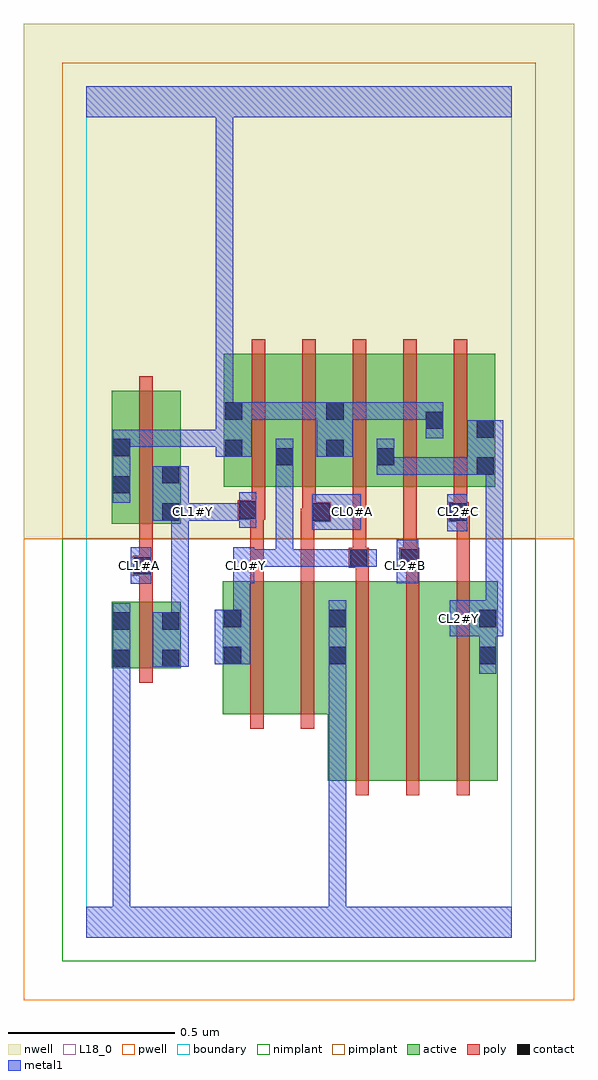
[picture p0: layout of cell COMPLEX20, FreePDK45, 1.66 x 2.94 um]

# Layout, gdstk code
import gdstk
lib = gdstk.Library(unit=1e-6, precision=1e-09)
def R(c, l, rs):  # rectangles x0, y0, x1, y1
    for r in rs: c.add(gdstk.rectangle(r[:2], r[2:], *l))
def A(c, l, x, y, w, h, nx, ny, dx, dy):  # array of equal rectangles
    R(c, l, [(x+i*dx, y+j*dy, x+i*dx+w, y+j*dy+h) for i in range(nx) for j in range(ny)])
active = (1, 0)
pwell = (2, 0)
nwell = (3, 0)
nimplant = (4, 0)
pimplant = (5, 0)
poly = (9, 0)
contact = (10, 0)
metal1 = (11, 0)
L18_0 = (18, 0)
boundary = (235, 0)

complex20 = lib.new_cell('COMPLEX20')
A(complex20, active, 0.414, 1.356, 0.212, 0.4, 3, 1, 0.152, 0)
R(complex20, active, [(0.726,0.472,0.906,1.072), (0.726,0.472,0.786,0.99), (0.906,0.472,1.058,1.072), (1.058,0.472,1.238,1.072), (1.178,0.556,1.238,1.072), (0.41,0.672,0.59,1.072), (0.41,0.672,0.47,1.072), (0.59,0.672,0.786,1.072), (0.076,0.81,0.136,1.01), (0.076,0.81,0.284,1.01), (0.224,0.81,0.284,1.01), (0.076,1.244,0.136,1.644), (0.076,1.244,0.284,1.644), (0.224,1.244,0.284,1.644), (0.414,1.356,0.474,1.644), (0.87,1.356,1.078,1.756), (1.018,1.356,1.23,1.756), (1.17,1.356,1.23,1.644), (0.566,1.416,0.626,1.644), (0.87,1.416,0.93,1.644), (0.718,1.442,0.778,1.644), (1.018,1.526,1.078,1.644)])
R(complex20, pwell, [(-0.188,-0.188,1.468,1.2)])
R(complex20, nwell, [(-0.188,1.2,1.468,2.748)])
R(complex20, nimplant, [(-0.072,-0.072,1.352,1.2)])
R(complex20, pimplant, [(-0.072,1.2,1.352,2.632)])
A(complex20, poly, 0.81, 0.428, 0.04, 0.688, 3, 1, 0.152, 0)
A(complex20, poly, 0.498, 1.312, 0.04, 0.488, 5, 1, 0.152, 0)
R(complex20, poly, [(0.494,0.628,0.534,1.116), (0.646,0.628,0.686,1.116), (0.16,0.766,0.2,1.054), (0.16,1.014,0.2,1.128), (0.494,1.076,0.534,1.296), (0.646,1.076,0.686,1.29), (0.81,1.076,0.85,1.152), (0.962,1.076,1.002,1.152), (1.114,1.076,1.154,1.29), (0.14,1.088,0.2,1.148), (0.16,1.088,0.2,1.128), (0.16,1.088,0.2,1.128), (0.16,1.108,0.2,1.24), (0.79,1.112,0.85,1.172), (0.942,1.112,1.002,1.172), (0.802,1.132,0.842,1.172), (0.802,1.132,0.842,1.172), (0.802,1.132,0.842,1.352), (0.954,1.132,0.994,1.172), (0.954,1.132,0.994,1.172), (0.954,1.132,0.994,1.352), (0.16,1.2,0.2,1.688), (0.646,1.25,0.69,1.29), (0.65,1.25,0.69,1.29), (0.65,1.25,0.736,1.31), (1.09,1.25,1.15,1.31), (1.11,1.25,1.15,1.29), (1.11,1.25,1.154,1.29), (0.456,1.256,0.538,1.316), (0.494,1.256,0.534,1.296), (0.494,1.256,0.534,1.296), (0.65,1.27,0.69,1.352), (1.106,1.27,1.146,1.352), (0.498,1.276,0.538,1.352)])
R(complex20, contact, [(0.08,0.814,0.132,0.866), (0.228,0.814,0.28,0.866), (0.414,0.822,0.466,0.874), (0.73,0.822,0.782,0.874), (1.182,0.822,1.234,0.874), (0.08,0.926,0.132,0.978), (0.228,0.926,0.28,0.978), (0.414,0.934,0.466,0.986), (0.73,0.934,0.782,0.986), (1.182,0.934,1.234,0.986), (0.144,1.092,0.196,1.144), (0.794,1.116,0.846,1.168), (0.946,1.116,0.998,1.168), (0.228,1.254,0.28,1.306), (0.68,1.254,0.732,1.306), (1.094,1.254,1.146,1.306), (0.46,1.26,0.512,1.312), (0.08,1.336,0.132,1.388), (0.228,1.366,0.28,1.418), (1.174,1.392,1.226,1.444), (0.57,1.42,0.622,1.472), (0.874,1.42,0.926,1.472), (0.418,1.446,0.47,1.498), (0.722,1.446,0.774,1.498), (0.08,1.448,0.132,1.5), (1.174,1.504,1.226,1.556), (1.022,1.53,1.074,1.582), (0.418,1.558,0.47,1.61), (0.722,1.558,0.774,1.61)])
R(complex20, metal1, [(0,0,1.28,0.092), (0.08,0.04,0.132,0.092), (0.08,0.04,0.132,0.092), (0.08,0.04,0.132,0.092), (0.08,0.04,0.132,0.092), (0.08,0.04,0.132,0.838), (0.73,0.04,0.782,0.092), (0.73,0.04,0.782,0.092), (0.73,0.04,0.782,0.092), (0.73,0.04,0.782,0.092), (0.73,0.04,0.782,0.092), (0.73,0.04,0.782,0.092), (0.73,0.04,0.782,0.092), (0.73,0.04,0.782,0.092), (0.73,0.04,0.782,0.846), (0.08,0.786,0.132,0.838), (0.08,0.786,0.132,0.838), (0.08,0.786,0.132,0.838), (0.08,0.786,0.132,0.838), (0.08,0.786,0.132,0.838), (0.08,0.786,0.132,0.838), (0.08,0.786,0.132,0.838), (0.08,0.786,0.132,0.838), (0.08,0.786,0.132,0.838), (0.08,0.786,0.132,0.838), (0.08,0.786,0.132,0.838), (0.08,0.786,0.132,0.838), (0.08,0.786,0.132,1.006), (0.73,0.794,0.782,1.014), (1.182,0.794,1.234,1.014), (0.2,0.814,0.308,0.978), (0.386,0.822,0.494,0.986), (1.094,0.906,1.254,1.014), (0.256,0.926,0.308,1.306), (0.442,0.934,0.494,1.118), (1.182,0.962,1.234,1.014), (1.202,0.962,1.254,1.444), (0.134,1.064,0.196,1.174), (0.442,1.066,0.506,1.174), (0.934,1.066,0.998,1.196), (0.454,1.116,0.506,1.168), (0.454,1.116,0.506,1.168), (0.454,1.116,0.622,1.168), (0.57,1.116,0.622,1.168), (0.57,1.116,0.622,1.168), (0.57,1.116,0.622,1.168), (0.57,1.116,0.732,1.168), (0.57,1.116,0.622,1.444), (0.68,1.116,0.732,1.168), (0.68,1.116,0.818,1.168), (0.766,1.116,0.874,1.168), (1.086,1.222,1.146,1.334), (0.68,1.226,0.826,1.334), (0.46,1.232,0.512,1.34), (0.2,1.254,0.308,1.418), (0.256,1.254,0.308,1.306), (0.256,1.254,0.308,1.306), (0.256,1.254,0.308,1.306), (0.256,1.254,0.512,1.306), (0.256,1.254,0.374,1.306), (0.46,1.254,0.512,1.306), (0.46,1.254,0.512,1.306), (0.08,1.308,0.132,1.528), (0.57,1.392,0.622,1.444), (0.57,1.392,0.622,1.444), (0.57,1.392,0.622,1.5), (0.874,1.392,0.926,1.5), (0.874,1.392,1.028,1.444), (0.976,1.392,1.028,1.444), (0.976,1.392,1.036,1.444), (0.984,1.392,1.036,1.444), (0.984,1.392,1.198,1.444), (1.146,1.392,1.198,1.444), (1.146,1.392,1.198,1.444), (1.146,1.392,1.254,1.556), (1.202,1.392,1.254,1.444), (1.202,1.392,1.254,1.444), (0.39,1.446,0.498,1.61), (0.694,1.446,0.802,1.61), (0.08,1.476,0.242,1.528), (0.19,1.476,0.242,1.528), (0.19,1.476,0.242,1.528), (0.19,1.476,0.242,1.528), (0.19,1.476,0.442,1.528), (1.022,1.502,1.074,1.61), (0.39,1.558,0.442,1.61), (0.39,1.558,0.442,1.61), (0.39,1.558,0.442,1.61), (0.39,1.558,0.442,1.61), (0.39,1.558,0.442,1.61), (0.39,1.558,0.442,1.61), (0.39,1.558,0.442,2.52), (0.446,1.558,0.498,1.61), (0.446,1.558,0.498,1.61), (0.446,1.558,0.622,1.61), (0.57,1.558,0.622,1.61), (0.57,1.558,0.622,1.61), (0.57,1.558,0.622,1.61), (0.57,1.558,0.746,1.61), (0.75,1.558,0.802,1.61), (0.75,1.558,0.802,1.61), (0.75,1.558,0.926,1.61), (0.874,1.558,0.926,1.61), (0.874,1.558,0.926,1.61), (0.874,1.558,0.926,1.61), (0.874,1.558,1.074,1.61), (0,2.468,1.28,2.56), (0.39,2.468,0.442,2.52), (0.39,2.468,0.442,2.52), (0.39,2.468,0.442,2.52), (0.39,2.468,0.442,2.52), (0.39,2.468,0.442,2.52), (0.39,2.468,0.442,2.52), (0.39,2.468,0.442,2.52), (0.39,2.468,0.442,2.52), (0.39,2.468,0.442,2.52), (0.39,2.468,0.442,2.52)])
R(complex20, L18_0, [(0,0,1.28,0.092), (0.08,0.04,0.132,0.092), (0.08,0.04,0.132,0.092), (0.08,0.04,0.132,0.092), (0.08,0.04,0.132,0.092), (0.08,0.04,0.132,0.838), (0.73,0.04,0.782,0.092), (0.73,0.04,0.782,0.092), (0.73,0.04,0.782,0.092), (0.73,0.04,0.782,0.092), (0.73,0.04,0.782,0.092), (0.73,0.04,0.782,0.092), (0.73,0.04,0.782,0.092), (0.73,0.04,0.782,0.092), (0.73,0.04,0.782,0.846), (0.08,0.786,0.132,0.838), (0.08,0.786,0.132,0.838), (0.08,0.786,0.132,0.838), (0.08,0.786,0.132,0.838), (0.08,0.786,0.132,0.838), (0.08,0.786,0.132,0.838), (0.08,0.786,0.132,0.838), (0.08,0.786,0.132,0.838), (0.08,0.786,0.132,0.838), (0.08,0.786,0.132,0.838), (0.08,0.786,0.132,0.838), (0.08,0.786,0.132,0.838), (0.08,0.786,0.132,1.006), (0.73,0.794,0.782,1.014), (1.182,0.794,1.234,1.014), (0.2,0.814,0.308,0.978), (0.386,0.822,0.494,0.986), (1.094,0.906,1.254,1.014), (0.256,0.926,0.308,1.306), (0.442,0.934,0.494,1.118), (1.094,0.934,1.146,0.986), (1.182,0.962,1.234,1.014), (1.202,0.962,1.254,1.444), (0.134,1.064,0.196,1.174), (0.442,1.066,0.506,1.174), (0.934,1.066,0.998,1.196), (0.134,1.094,0.186,1.146), (0.454,1.094,0.506,1.146), (0.934,1.094,0.986,1.146), (0.454,1.116,0.506,1.168), (0.454,1.116,0.506,1.168), (0.454,1.116,0.622,1.168), (0.57,1.116,0.622,1.168), (0.57,1.116,0.622,1.168), (0.57,1.116,0.622,1.168), (0.57,1.116,0.732,1.168), (0.57,1.116,0.622,1.444), (0.68,1.116,0.732,1.168), (0.68,1.116,0.818,1.168), (0.766,1.116,0.874,1.168), (1.086,1.222,1.146,1.334), (0.68,1.226,0.826,1.334), (0.46,1.232,0.512,1.34), (0.2,1.254,0.308,1.418), (0.256,1.254,0.308,1.306), (0.256,1.254,0.308,1.306), (0.256,1.254,0.308,1.306), (0.256,1.254,0.374,1.306), (0.256,1.254,0.512,1.306), (0.294,1.254,0.346,1.306), (0.46,1.254,0.512,1.306), (0.46,1.254,0.512,1.306), (0.774,1.254,0.826,1.306), (1.094,1.254,1.146,1.306), (0.08,1.308,0.132,1.528), (0.57,1.392,0.622,1.444), (0.57,1.392,0.622,1.444), (0.57,1.392,0.622,1.5), (0.874,1.392,0.926,1.5), (0.874,1.392,1.028,1.444), (0.976,1.392,1.028,1.444), (0.976,1.392,1.036,1.444), (0.984,1.392,1.036,1.444), (0.984,1.392,1.198,1.444), (1.146,1.392,1.198,1.444), (1.146,1.392,1.198,1.444), (1.146,1.392,1.254,1.556), (1.202,1.392,1.254,1.444), (1.202,1.392,1.254,1.444), (0.39,1.446,0.498,1.61), (0.694,1.446,0.802,1.61), (0.08,1.476,0.242,1.528), (0.19,1.476,0.242,1.528), (0.19,1.476,0.242,1.528), (0.19,1.476,0.242,1.528), (0.19,1.476,0.442,1.528), (1.022,1.502,1.074,1.61), (0.39,1.558,0.442,1.61), (0.39,1.558,0.442,1.61), (0.39,1.558,0.442,1.61), (0.39,1.558,0.442,1.61), (0.39,1.558,0.442,1.61), (0.39,1.558,0.442,1.61), (0.39,1.558,0.442,2.52), (0.446,1.558,0.498,1.61), (0.446,1.558,0.498,1.61), (0.446,1.558,0.622,1.61), (0.57,1.558,0.622,1.61), (0.57,1.558,0.622,1.61), (0.57,1.558,0.622,1.61), (0.57,1.558,0.746,1.61), (0.75,1.558,0.802,1.61), (0.75,1.558,0.802,1.61), (0.75,1.558,0.926,1.61), (0.874,1.558,0.926,1.61), (0.874,1.558,0.926,1.61), (0.874,1.558,0.926,1.61), (0.874,1.558,1.074,1.61), (0,2.468,1.28,2.56), (0.39,2.468,0.442,2.52), (0.39,2.468,0.442,2.52), (0.39,2.468,0.442,2.52), (0.39,2.468,0.442,2.52), (0.39,2.468,0.442,2.52), (0.39,2.468,0.442,2.52), (0.39,2.468,0.442,2.52), (0.39,2.468,0.442,2.52), (0.39,2.468,0.442,2.52), (0.39,2.468,0.442,2.52)])
R(complex20, boundary, [(0,0,1.28,2.56)])
complex20.add(gdstk.Label('CL0#A', (0.8,1.28), layer=11, texttype=0))
complex20.add(gdstk.Label('CL0#Y', (0.48,1.12), layer=11, texttype=0))
complex20.add(gdstk.Label('CL1#A', (0.16,1.12), layer=11, texttype=0))
complex20.add(gdstk.Label('CL1#Y', (0.32,1.28), layer=11, texttype=0))
complex20.add(gdstk.Label('CL2#B', (0.96,1.12), layer=11, texttype=0))
complex20.add(gdstk.Label('CL2#C', (1.12,1.28), layer=11, texttype=0))
complex20.add(gdstk.Label('CL2#Y', (1.12,0.96), layer=11, texttype=0))

lib.write_gds('COMPLEX20.gds')
